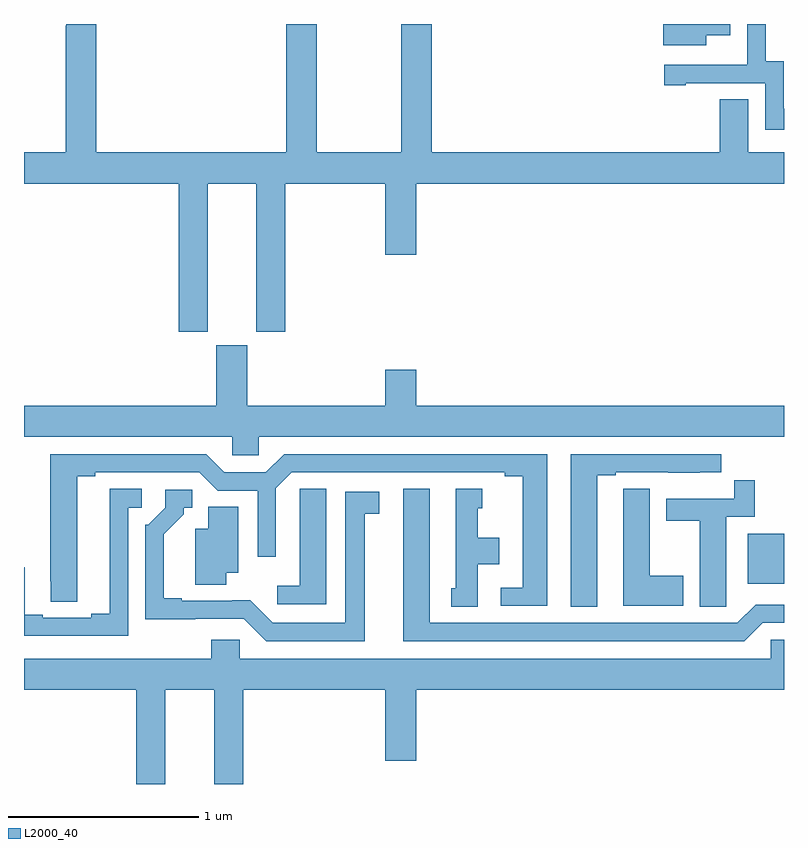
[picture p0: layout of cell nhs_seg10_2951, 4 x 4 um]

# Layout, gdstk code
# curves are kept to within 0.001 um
import gdstk
lib = gdstk.Library(unit=1e-6, precision=1e-09)
def R(c, l, rs):  # rectangles x0, y0, x1, y1
    for r in rs: c.add(gdstk.rectangle(r[:2], r[2:], *l))
def P(c, l, *ps):  # polygons
    for p in ps: c.add(gdstk.Polygon(p, *l))
L2000_40 = (2000, 40)

nhs_seg10_2951 = lib.new_cell('nhs_seg10_2951')
R(nhs_seg10_2951, L2000_40, [(274.808,1287.554,275,1287.817)])
P(nhs_seg10_2951, L2000_40, [(271.966,1289.66),(272.222,1289.66),(272.222,1288.881),(272.375,1288.881),(272.375,1289.66),(272.9,1289.66),(272.9,1289.286),(273.064,1289.286),(273.064,1289.66),(275,1289.66),(275,1289.824),(274.813,1289.824),(274.813,1290.104),(274.661,1290.104),(274.661,1289.824),(273.146,1289.824),(273.146,1290.5),(272.986,1290.5),(272.986,1289.824),(272.541,1289.824),(272.541,1290.5),(272.381,1290.5),(272.381,1289.824),(271.379,1289.824),(271.379,1290.5),(271.223,1290.5),(271.223,1290.491),(271.219,1290.491),(271.219,1289.824),(271,1289.824),(271,1289.66),(271.814,1289.66),(271.814,1288.881),(271.966,1288.881)],
  [(274.591,1290.44),(274.717,1290.44),(274.717,1290.5),(274.364,1290.5),(274.364,1290.389),(274.591,1290.389)],
  [(275,1290.054),(274.999,1290.054),(274.999,1290.305),(274.905,1290.305),(274.905,1290.5),(274.806,1290.5),(274.806,1290.286),(274.805,1290.286),(274.805,1290.285),(274.371,1290.285),(274.371,1290.177),(274.483,1290.177),(274.483,1290.189),(274.902,1290.189),(274.902,1289.943),(275,1289.943)],
  [(272.235,1288.328),(275,1288.328),(275,1288.492),(273.064,1288.492),(273.064,1288.681),(272.9,1288.681),(272.9,1288.492),(272.176,1288.492),(272.176,1288.809),(272.012,1288.809),(272.012,1288.492),(271,1288.492),(271,1288.328),(272.097,1288.328),(272.097,1288.23),(272.235,1288.23)],
  [(273.754,1288.236),(272.369,1288.236),(272.273,1288.14),(272.055,1288.14),(271.959,1288.236),(271.139,1288.236),(271.14,1287.46),(271.279,1287.46),(271.279,1288.12),(271.375,1288.12),(271.375,1288.14),(271.923,1288.14),(272.019,1288.044),(272.229,1288.044),(272.229,1287.696),(272.325,1287.696),(272.325,1288.056),(272.409,1288.14),(273.53,1288.14),(273.53,1288.12),(273.626,1288.12),(273.626,1287.534),(273.51,1287.534),(273.51,1287.438),(273.754,1287.438)],
  [(274.018,1288.125),(274.114,1288.125),(274.114,1288.14),(274.39,1288.14),(274.39,1288.139),(274.556,1288.139),(274.556,1288.14),(274.669,1288.14),(274.669,1288.236),(273.878,1288.236),(273.878,1287.433),(274.018,1287.433)],
  [(274.695,1287.544),(274.696,1287.544),(274.696,1287.906),(274.847,1287.906),(274.847,1288.099),(274.738,1288.099),(274.738,1288.002),(274.379,1288.002),(274.379,1287.886),(274.556,1287.886),(274.556,1287.433),(274.695,1287.433)],
  [(274.471,1287.597),(274.294,1287.597),(274.294,1288.055),(274.155,1288.055),(274.155,1287.947),(274.154,1287.947),(274.154,1287.437),(274.471,1287.437)],
  [(272.59,1288.055),(272.451,1288.055),(272.451,1287.947),(272.45,1287.947),(272.45,1287.544),(272.334,1287.544),(272.334,1287.447),(272.59,1287.447)],
  [(271.548,1287.954),(271.621,1287.954),(271.621,1288.055),(271.451,1288.055),(271.451,1287.395),(271.355,1287.395),(271.355,1287.375),(271.099,1287.375),(271.099,1287.39),(271.003,1287.39),(271.003,1287.641),(271,1287.641),(271,1287.279),(271.548,1287.279)],
  [(274.887,1287.348),(275,1287.348),(275,1287.444),(274.851,1287.444),(274.755,1287.348),(273.136,1287.348),(273.136,1288.054),(272.996,1288.054),(272.996,1287.252),(274.791,1287.252)],
  [(273.388,1287.656),(273.502,1287.656),(273.502,1287.796),(273.388,1287.796),(273.388,1287.951),(273.412,1287.951),(273.412,1288.054),(273.272,1288.054),(273.272,1287.531),(273.248,1287.531),(273.248,1287.433),(273.388,1287.433)],
  [(272.794,1287.922),(272.869,1287.922),(272.869,1288.038),(272.69,1288.038),(272.69,1287.348),(272.31,1287.348),(272.192,1287.466),(271.831,1287.465),(271.831,1287.478),(271.735,1287.478),(271.735,1287.814),(271.84,1287.919),(271.84,1287.954),(271.885,1287.954),(271.885,1288.05),(271.743,1288.05),(271.743,1287.954),(271.653,1287.864),(271.638,1287.864),(271.638,1287.368),(272.157,1287.369),(272.274,1287.252),(272.794,1287.252)],
  [(272.065,1287.611),(272.128,1287.611),(272.128,1287.959),(271.97,1287.959),(271.97,1287.844),(271.901,1287.844),(271.901,1287.55),(272.065,1287.55)],
  [(271.744,1286.996),(272,1286.996),(272,1286.5),(272.153,1286.5),(272.153,1286.996),(272.9,1286.996),(272.9,1286.622),(273.064,1286.622),(273.064,1286.996),(275,1286.996),(275,1287.258),(274.929,1287.258),(274.929,1287.16),(272.136,1287.16),(272.136,1287.258),(271.985,1287.258),(271.985,1287.16),(271,1287.16),(271,1286.996),(271.592,1286.996),(271.592,1286.5),(271.744,1286.5)])

lib.write_gds('nhs_seg10_2951.gds')
